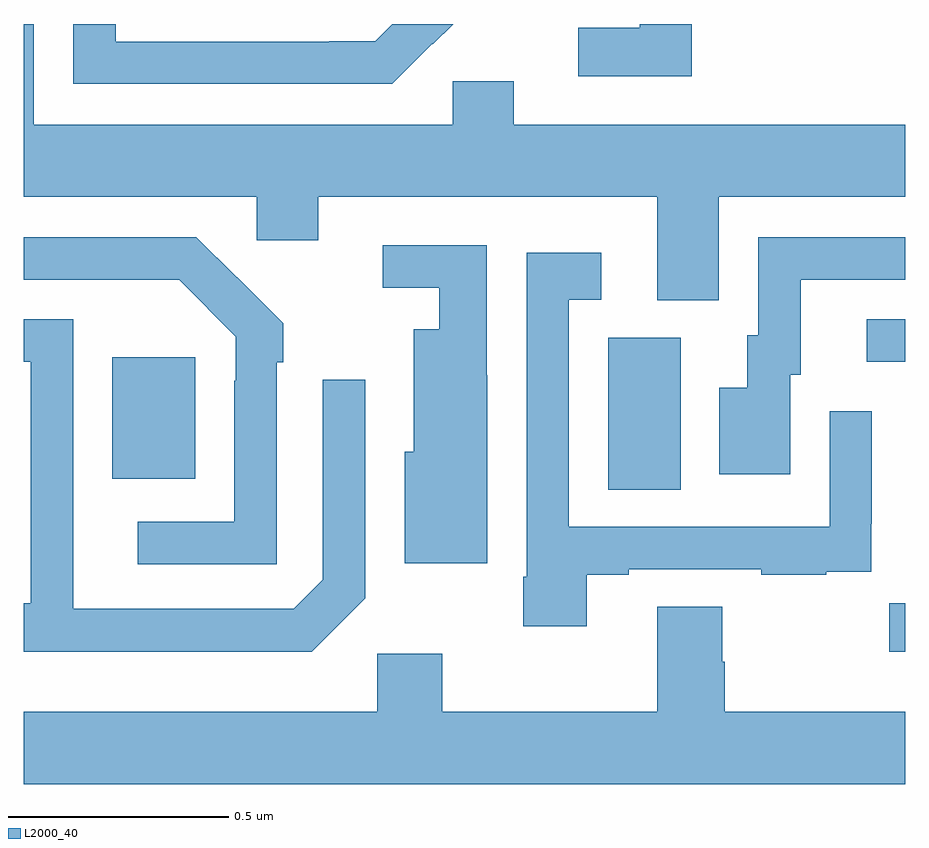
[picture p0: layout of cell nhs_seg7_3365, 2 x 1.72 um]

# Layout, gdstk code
import gdstk
lib = gdstk.Library(unit=1e-6, precision=1e-09)
def R(c, l, rs):  # rectangles x0, y0, x1, y1
    for r in rs: c.add(gdstk.rectangle(r[:2], r[2:], *l))
def P(c, l, *ps):  # polygons
    for p in ps: c.add(gdstk.Polygon(p, *l))
L2000_40 = (2000, 40)

nhs_seg7_3365 = lib.new_cell('nhs_seg7_3365')
R(nhs_seg7_3365, L2000_40, [(159.963,1007.576,160,1007.686), (159.326,1007.944,159.49,1008.288), (158.201,1007.969,158.389,1008.244), (159.912,1008.234,160,1008.33)])
P(nhs_seg7_3365, L2000_40, [(159.577,1008.608),(160,1008.608),(160,1008.772),(159.112,1008.772),(159.112,1008.87),(158.973,1008.87),(158.973,1008.772),(158.023,1008.772),(158.023,1009),(158,1009),(158,1008.608),(158.529,1008.608),(158.529,1008.51),(158.668,1008.51),(158.668,1008.608),(159.437,1008.608),(159.437,1008.373),(159.577,1008.373)],
  [(159.515,1009),(159.398,1009),(159.398,1008.991),(159.258,1008.991),(159.258,1008.882),(159.515,1008.882)],
  [(158.927,1008.955),(158.928,1008.954),(158.974,1009),(158.836,1009),(158.797,1008.961),(158.693,1008.961),(158.693,1008.96),(158.209,1008.96),(158.209,1009),(158.112,1009),(158.112,1008.864),(158.836,1008.864)],
  [(159.739,1008.204),(159.763,1008.204),(159.763,1008.42),(160,1008.42),(160,1008.516),(159.666,1008.516),(159.666,1008.294),(159.641,1008.294),(159.641,1008.175),(159.578,1008.175),(159.578,1007.979),(159.739,1007.979)],
  [(158.574,1008.233),(158.589,1008.233),(158.589,1008.321),(158.484,1008.426),(158.483,1008.425),(158.392,1008.516),(158,1008.516),(158,1008.42),(158.353,1008.42),(158.481,1008.291),(158.481,1008.191),(158.478,1008.191),(158.478,1007.871),(158.259,1007.871),(158.259,1007.775),(158.574,1007.775)],
  [(159.052,1008.203),(159.051,1008.203),(159.051,1008.498),(158.814,1008.498),(158.814,1008.402),(158.943,1008.402),(158.943,1008.307),(158.885,1008.307),(158.885,1008.03),(158.864,1008.03),(158.864,1007.777),(159.052,1007.777)],
  [(159.277,1007.751),(159.373,1007.751),(159.373,1007.763),(159.673,1007.763),(159.673,1007.751),(159.821,1007.751),(159.821,1007.757),(159.923,1007.757),(159.923,1007.866),(159.924,1007.866),(159.924,1008.121),(159.828,1008.121),(159.828,1007.859),(159.237,1007.859),(159.237,1008.375),(159.31,1008.375),(159.31,1008.481),(159.141,1008.481),(159.141,1007.746),(159.133,1007.746),(159.133,1007.634),(159.277,1007.634)],
  [(158.775,1007.697),(158.775,1008.193),(158.679,1008.193),(158.679,1007.739),(158.613,1007.673),(158.113,1007.673),(158.113,1007.873),(158.112,1007.873),(158.112,1008.33),(158,1008.33),(158,1008.234),(158.016,1008.234),(158.016,1007.686),(158,1007.686),(158,1007.576),(158.654,1007.576)],
  [(160,1007.44),(159.59,1007.44),(159.59,1007.553),(159.585,1007.553),(159.585,1007.678),(159.437,1007.678),(159.437,1007.44),(158.949,1007.44),(158.949,1007.572),(158.802,1007.572),(158.802,1007.44),(158,1007.44),(158,1007.276),(160,1007.276)])

lib.write_gds('nhs_seg7_3365.gds')
